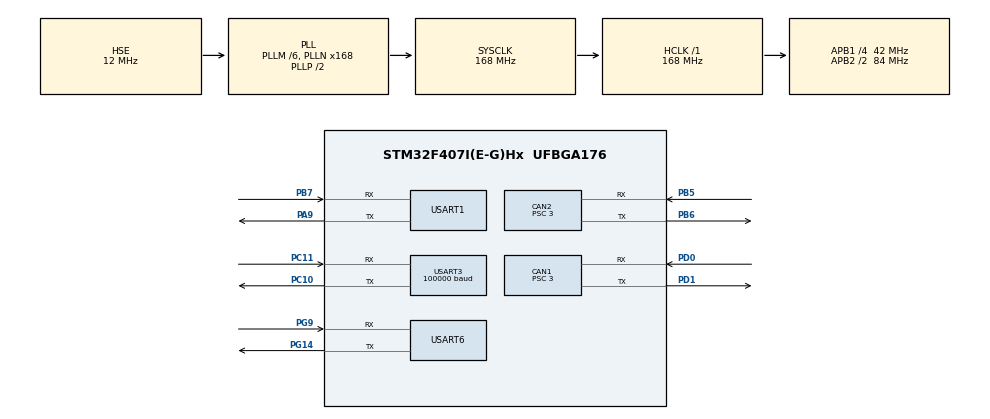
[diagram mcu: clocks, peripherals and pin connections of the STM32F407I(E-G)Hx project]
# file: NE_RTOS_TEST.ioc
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CAN1.ABOM=ENABLE
CAN1.BS1=CAN_BS1_10TQ
CAN1.BS2=CAN_BS2_3TQ
CAN1.CalculateBaudRate=1000000
CAN1.CalculateTimeBit=1000
CAN1.CalculateTimeQuantum=71.42857142857143
CAN1.NART=ENABLE
CAN1.Prescaler=3
CAN1.TXFP=ENABLE
CAN2.ABOM=ENABLE
CAN2.AWUM=DISABLE
CAN2.BS1=CAN_BS1_10TQ
CAN2.BS2=CAN_BS2_3TQ
CAN2.CalculateBaudRate=1000000
CAN2.CalculateTimeBit=1000
CAN2.CalculateTimeQuantum=71.42857142857143
CAN2.NART=ENABLE
CAN2.Prescaler=3
CAN2.TXFP=ENABLE
Dma.Request0=USART3_RX
Dma.Request1=USART1_RX
Dma.Request2=USART6_RX
Dma.Request3=USART6_TX
Dma.Request4=USART1_TX
Dma.USART1_RX.1.Direction=DMA_PERIPH_TO_MEMORY
Dma.USART1_RX.1.FIFOMode=DMA_FIFOMODE_DISABLE
Dma.USART1_RX.1.Instance=DMA2_Stream2
Dma.USART1_RX.1.MemDataAlignment=DMA_MDATAALIGN_BYTE
Dma.USART1_RX.1.MemInc=DMA_MINC_ENABLE
Dma.USART1_RX.1.Mode=DMA_CIRCULAR
Dma.USART1_RX.1.PeriphDataAlignment=DMA_PDATAALIGN_BYTE
Dma.USART1_RX.1.PeriphInc=DMA_PINC_DISABLE
Dma.USART1_RX.1.Priority=DMA_PRIORITY_HIGH
Dma.USART1_TX.4.Direction=DMA_MEMORY_TO_PERIPH
Dma.USART1_TX.4.FIFOMode=DMA_FIFOMODE_DISABLE
Dma.USART1_TX.4.Instance=DMA2_Stream7
Dma.USART1_TX.4.MemDataAlignment=DMA_MDATAALIGN_BYTE
Dma.USART1_TX.4.MemInc=DMA_MINC_ENABLE
Dma.USART1_TX.4.Mode=DMA_NORMAL
Dma.USART1_TX.4.PeriphDataAlignment=DMA_PDATAALIGN_BYTE
Dma.USART1_TX.4.PeriphInc=DMA_PINC_DISABLE
Dma.USART1_TX.4.Priority=DMA_PRIORITY_LOW
Dma.USART3_RX.0.Direction=DMA_PERIPH_TO_MEMORY
Dma.USART3_RX.0.FIFOMode=DMA_FIFOMODE_DISABLE
Dma.USART3_RX.0.Instance=DMA1_Stream1
Dma.USART3_RX.0.MemDataAlignment=DMA_MDATAALIGN_BYTE
Dma.USART3_RX.0.MemInc=DMA_MINC_ENABLE
Dma.USART3_RX.0.Mode=DMA_NORMAL
Dma.USART3_RX.0.PeriphDataAlignment=DMA_PDATAALIGN_BYTE
Dma.USART3_RX.0.PeriphInc=DMA_PINC_DISABLE
Dma.USART3_RX.0.Priority=DMA_PRIORITY_LOW
Dma.USART6_RX.2.Direction=DMA_PERIPH_TO_MEMORY
Dma.USART6_RX.2.FIFOMode=DMA_FIFOMODE_DISABLE
Dma.USART6_RX.2.Instance=DMA2_Stream1
Dma.USART6_RX.2.MemDataAlignment=DMA_MDATAALIGN_BYTE
Dma.USART6_RX.2.MemInc=DMA_MINC_ENABLE
Dma.USART6_RX.2.Mode=DMA_NORMAL
Dma.USART6_RX.2.PeriphDataAlignment=DMA_PDATAALIGN_BYTE
Dma.USART6_RX.2.PeriphInc=DMA_PINC_DISABLE
Dma.USART6_RX.2.Priority=DMA_PRIORITY_HIGH
Dma.USART6_TX.3.Direction=DMA_MEMORY_TO_PERIPH
Dma.USART6_TX.3.FIFOMode=DMA_FIFOMODE_DISABLE
Dma.USART6_TX.3.Instance=DMA2_Stream6
Dma.USART6_TX.3.MemDataAlignment=DMA_MDATAALIGN_BYTE
Dma.USART6_TX.3.MemInc=DMA_MINC_ENABLE
Dma.USART6_TX.3.Mode=DMA_NORMAL
Dma.USART6_TX.3.PeriphDataAlignment=DMA_PDATAALIGN_BYTE
Dma.USART6_TX.3.PeriphInc=DMA_PINC_DISABLE
Dma.USART6_TX.3.Priority=DMA_PRIORITY_LOW
FREERTOS.Tasks01=defaultTask,24,128,StartDefaultTask,Default,NULL,Dynamic,NULL,NULL
Mcu.Family=STM32F4
Mcu.Name=STM32F407I(E-G)Hx
Mcu.Package=UFBGA176
NVIC.CAN1_RX0_IRQn=true\:5\:0\:false\:false\:true\:true\:true\:true\:true
NVIC.CAN1_RX1_IRQn=true\:5\:0\:false\:false\:true\:true\:true\:true\:true
NVIC.CAN2_RX0_IRQn=true\:5\:0\:false\:false\:true\:true\:true\:true\:true
NVIC.CAN2_RX1_IRQn=true\:5\:0\:false\:false\:true\:true\:true\:true\:true
NVIC.DMA1_Stream1_IRQn=true\:5\:0\:false\:false\:true\:true\:false\:true\:true
NVIC.DMA2_Stream1_IRQn=true\:5\:0\:false\:false\:true\:true\:false\:true\:true
NVIC.DMA2_Stream2_IRQn=true\:5\:0\:false\:false\:true\:true\:false\:true\:true
NVIC.DMA2_Stream6_IRQn=true\:5\:0\:false\:false\:true\:true\:false\:true\:true
NVIC.DMA2_Stream7_IRQn=true\:5\:0\:false\:false\:true\:true\:false\:true\:true
NVIC.PriorityGroup=NVIC_PRIORITYGROUP_4
NVIC.TIM8_TRG_COM_TIM14_IRQn=true\:15\:0\:false\:false\:true\:false\:false\:true\:true
NVIC.TimeBase=TIM8_TRG_COM_TIM14_IRQn
NVIC.TimeBaseIP=TIM14
NVIC.USART1_IRQn=true\:5\:0\:false\:false\:true\:true\:true\:true\:true
NVIC.USART3_IRQn=true\:5\:0\:false\:false\:true\:true\:true\:true\:true
NVIC.USART6_IRQn=true\:5\:0\:false\:false\:true\:true\:true\:true\:true
PA13.Mode=Serial_Wire
PA13.Signal=SYS_JTMS-SWDIO
PA14.Mode=Serial_Wire
PA14.Signal=SYS_JTCK-SWCLK
PA9.Mode=Asynchronous
PA9.Signal=USART1_TX
PB5.Mode=CAN_Activate
PB5.Signal=CAN2_RX
PB6.Mode=CAN_Activate
PB6.Signal=CAN2_TX
PB7.Mode=Asynchronous
PB7.Signal=USART1_RX
PC10.Mode=Asynchronous
PC10.Signal=USART3_TX
PC11.Mode=Asynchronous
PC11.Signal=USART3_RX
PD0.Mode=CAN_Activate
PD0.Signal=CAN1_RX
PD1.Mode=CAN_Activate
PD1.Signal=CAN1_TX
PG14.Mode=Asynchronous
PG14.Signal=USART6_TX
PG9.Mode=Asynchronous
PG9.Signal=USART6_RX
PH0-OSC_IN.Mode=HSE-External-Oscillator
PH0-OSC_IN.Signal=RCC_OSC_IN
PH1-OSC_OUT.Mode=HSE-External-Oscillator
PH1-OSC_OUT.Signal=RCC_OSC_OUT
ProjectManager.HeapSize=0x200
ProjectManager.StackSize=0x400
ProjectManager.TargetToolchain=MDK-ARM V5.32
RCC.48MHZClocksFreq_Value=84000000
RCC.AHBFreq_Value=168000000
RCC.APB1CLKDivider=RCC_HCLK_DIV4
RCC.APB1Freq_Value=42000000
RCC.APB1TimFreq_Value=84000000
RCC.APB2CLKDivider=RCC_HCLK_DIV2
RCC.APB2Freq_Value=84000000
RCC.APB2TimFreq_Value=168000000
RCC.CortexFreq_Value=168000000
RCC.HCLKFreq_Value=168000000
RCC.HSE_VALUE=12000000
RCC.HSI_VALUE=16000000
RCC.LSE_VALUE=32768
RCC.PLLM=6
RCC.PLLN=168
RCC.PLLSourceVirtual=RCC_PLLSOURCE_HSE
RCC.SYSCLKFreq_VALUE=168000000
RCC.SYSCLKSource=RCC_SYSCLKSOURCE_PLLCLK
RCC.VCOOutputFreq_Value=336000000
STMicroelectronics.X-CUBE-ALGOBUILD.1.4.0.LibraryCcDSPOoLibraryJjDSPOoLibrary=true
USART1.VirtualMode=VM_ASYNC
USART3.BaudRate=100000
USART3.Parity=PARITY_EVEN
USART3.VirtualMode=VM_ASYNC
USART3.WordLength=WORDLENGTH_9B
USART6.VirtualMode=VM_ASYNC
VP_FREERTOS_VS_CMSIS_V2.Mode=CMSIS_V2
VP_STMicroelectronics.X-CUBE-ALGOBUILD_VS_DSPOoLibraryJjLibrary_1.4.0_1.4.0.Mode=DSPOoLibraryJjLibrary
VP_SYS_VS_tim14.Mode=TIM14
board=custom

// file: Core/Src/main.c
/* USER CODE BEGIN Header */
/**
  ******************************************************************************
  * @file           : main.c
  * @brief          : Main program body
  ******************************************************************************
  * @attention
  *
  * Copyright (c) 2025 STMicroelectronics.
  * All rights reserved.
  *
  * This software is licensed under terms that can be found in the LICENSE file
  * in the root directory of this software component.
  * If no LICENSE file comes with this software, it is provided AS-IS.
  *
  ******************************************************************************
  */
/* USER CODE END Header */
#include "main.h"
#include "cmsis_os.h"
#include "can.h"
#include "dma.h"
#include "usart.h"
#include "gpio.h"

/* USER CODE BEGIN Includes */
#include "usr_main.h"
/* USER CODE END Includes */

void SystemClock_Config(void);
void MX_FREERTOS_Init(void);

int main(void)
{

  /* MCU Configuration--------------------------------------------------------*/

  /* Reset of all peripherals, Initializes the Flash interface and the Systick. */
  HAL_Init();

  /* Configure the system clock */
  SystemClock_Config();

  /* Initialize all configured peripherals */
  MX_GPIO_Init();
  MX_DMA_Init();
  MX_CAN1_Init();
  MX_CAN2_Init();
  MX_USART3_UART_Init();
  MX_USART1_UART_Init();
  MX_USART6_UART_Init();
  /* USER CODE BEGIN 2 */
  Usr_Main_Init(); //用户初始化
  /* USER CODE END 2 */

  /* Init scheduler */
  osKernelInitialize();  /* Call init function for freertos objects (in cmsis_os2.c) */
  MX_FREERTOS_Init();

  /* Start scheduler */
  osKernelStart();

  /* We should never get here as control is now taken by the scheduler */

  /* Infinite loop */
  while (1)
  {

  }
}

void SystemClock_Config(void)
{
  RCC_OscInitTypeDef RCC_OscInitStruct = {0};
  RCC_ClkInitTypeDef RCC_ClkInitStruct = {0};

  /** Configure the main internal regulator output voltage
  */
  __HAL_RCC_PWR_CLK_ENABLE();
  __HAL_PWR_VOLTAGESCALING_CONFIG(PWR_REGULATOR_VOLTAGE_SCALE1);

  /** Initializes the RCC Oscillators according to the specified parameters
  * in the RCC_OscInitTypeDef structure.
  */
  RCC_OscInitStruct.OscillatorType = RCC_OSCILLATORTYPE_HSE;
  RCC_OscInitStruct.HSEState = RCC_HSE_ON;
  RCC_OscInitStruct.PLL.PLLState = RCC_PLL_ON;
  RCC_OscInitStruct.PLL.PLLSource = RCC_PLLSOURCE_HSE;
  RCC_OscInitStruct.PLL.PLLM = 6;
  RCC_OscInitStruct.PLL.PLLN = 168;
  RCC_OscInitStruct.PLL.PLLP = RCC_PLLP_DIV2;
  RCC_OscInitStruct.PLL.PLLQ = 4;
  if (HAL_RCC_OscConfig(&RCC_OscInitStruct) != HAL_OK)
  {
    Error_Handler();
  }

  /** Initializes the CPU, AHB and APB buses clocks
  */
  RCC_ClkInitStruct.ClockType = RCC_CLOCKTYPE_HCLK|RCC_CLOCKTYPE_SYSCLK
                              |RCC_CLOCKTYPE_PCLK1|RCC_CLOCKTYPE_PCLK2;
  RCC_ClkInitStruct.SYSCLKSource = RCC_SYSCLKSOURCE_PLLCLK;
  RCC_ClkInitStruct.AHBCLKDivider = RCC_SYSCLK_DIV1;
  RCC_ClkInitStruct.APB1CLKDivider = RCC_HCLK_DIV4;
  RCC_ClkInitStruct.APB2CLKDivider = RCC_HCLK_DIV2;

  if (HAL_RCC_ClockConfig(&RCC_ClkInitStruct, FLASH_LATENCY_5) != HAL_OK)
  {
    Error_Handler();
  }
}

void HAL_TIM_PeriodElapsedCallback(TIM_HandleTypeDef *htim)
{
  if (htim->Instance == TIM14)
  {
    HAL_IncTick();
  }
}

void Error_Handler(void)
{
  __disable_irq();
  while (1)
  {
  }
}

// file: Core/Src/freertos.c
/* USER CODE BEGIN Header */
/**
 ******************************************************************************
 * File Name          : freertos.c
 * Description        : Code for freertos applications
 ******************************************************************************
 * @attention
 *
 * Copyright (c) 2025 STMicroelectronics.
 * All rights reserved.
 *
 * This software is licensed under terms that can be found in the LICENSE file
 * in the root directory of this software component.
 * If no LICENSE file comes with this software, it is provided AS-IS.
 *
 ******************************************************************************
 */
/* USER CODE END Header */

#include "FreeRTOS.h"
#include "task.h"
#include "main.h"
#include "cmsis_os.h"

/* USER CODE BEGIN Includes */
#include "usr_freertos.h"
/* USER CODE END Includes */

/* USER CODE BEGIN Variables */
uint32_t arm_task_remain_stack = 0;
uint32_t bsp_can1_task_remain_stack = 0;
uint32_t bsp_can2_task_remain_stack = 0;
uint32_t can_custom_comm_task_remain_stack = 0;
uint32_t default_task_remain_stack = 0;
/* USER CODE END Variables */
/* Definitions for defaultTask */
osThreadId_t defaultTaskHandle;
const osThreadAttr_t defaultTask_attributes = {
  .name = "defaultTask",
  .stack_size = 128 * 4,
  .priority = (osPriority_t) osPriorityNormal,
};

void StartDefaultTask(void *argument);

void MX_FREERTOS_Init(void); /* (MISRA C 2004 rule 8.1) */

void MX_FREERTOS_Init(void) {
  /* USER CODE BEGIN Init */
  Usr_FreeRTOS_Init();
  /* USER CODE END Init */

  /* Create the thread(s) */
  /* creation of defaultTask */
  defaultTaskHandle = osThreadNew(StartDefaultTask, NULL, &defaultTask_attributes);

}

void StartDefaultTask(void *argument)
{
  /* USER CODE BEGIN StartDefaultTask */
  for(;;) {
    arm_task_remain_stack = uxTaskGetStackHighWaterMark(armTaskHandle);
    bsp_can1_task_remain_stack = uxTaskGetStackHighWaterMark(bspCan1TaskHandle);
    bsp_can2_task_remain_stack = uxTaskGetStackHighWaterMark(bspCan2TaskHandle);
    can_custom_comm_task_remain_stack = uxTaskGetStackHighWaterMark(canCustomCommTaskHandle);
    default_task_remain_stack = uxTaskGetStackHighWaterMark(defaultTaskHandle);
    osDelay(10);
  }
  /* USER CODE END StartDefaultTask */
}
